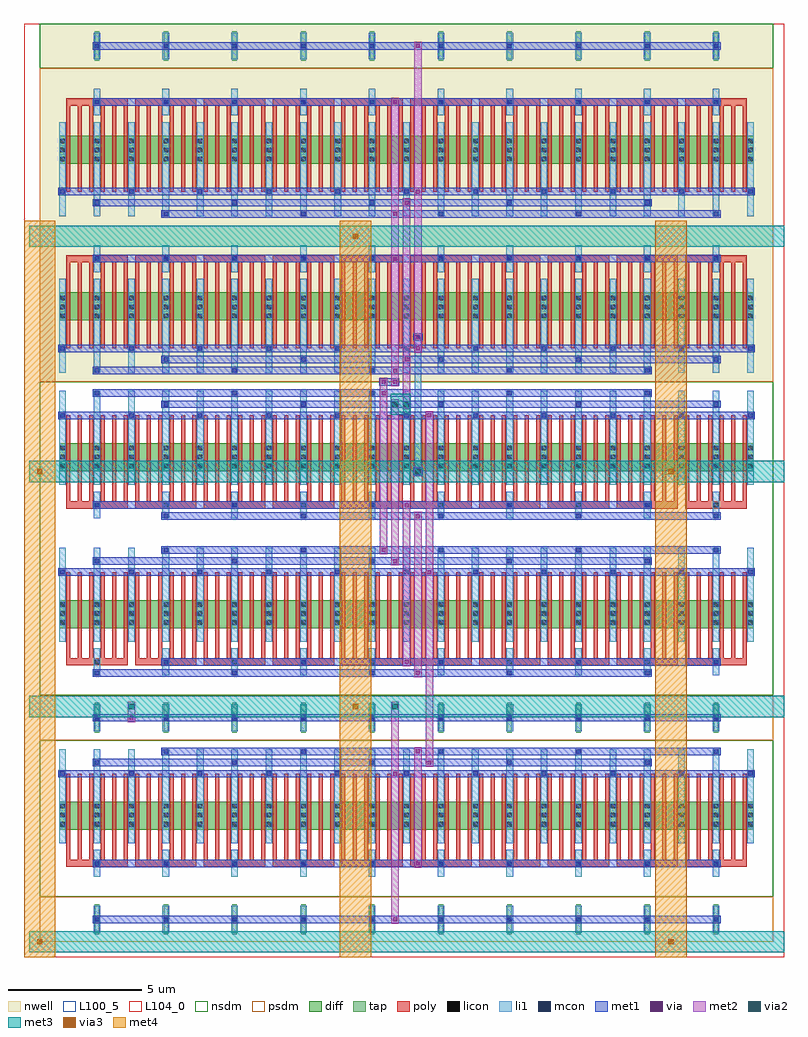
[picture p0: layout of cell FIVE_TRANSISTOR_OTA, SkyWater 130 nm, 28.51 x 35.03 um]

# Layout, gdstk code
import gdstk
lib = gdstk.Library(unit=1e-6, precision=1e-09)
def R(c, l, rs):  # rectangles x0, y0, x1, y1
    for r in rs: c.add(gdstk.rectangle(r[:2], r[2:], *l))
def A(c, l, x, y, w, h, nx, ny, dx, dy):  # array of equal rectangles
    R(c, l, [(x+i*dx, y+j*dy, x+i*dx+w, y+j*dy+h) for i in range(nx) for j in range(ny)])
nwell = (64, 20)
diff = (65, 20)
tap = (65, 44)
poly = (66, 20)
licon = (66, 44)
li1 = (67, 20)
mcon = (67, 44)
met1 = (68, 20)
via = (68, 44)
met2 = (69, 20)
via2 = (69, 44)
met3 = (70, 20)
via3 = (70, 44)
met4 = (71, 20)
nsdm = (93, 44)
psdm = (94, 20)
L100_5 = (100, 5)
L104_0 = (104, 0)

five_transistor_ota = lib.new_cell('FIVE_TRANSISTOR_OTA')
R(five_transistor_ota, nwell, [(0,21,27.52,34.44)])
R(five_transistor_ota, diff, [(0.735,4.2,26.785,5.25), (0.735,11.76,26.785,12.81), (0.735,17.64,26.785,18.69), (0.735,23.31,26.785,24.36), (0.735,29.19,26.785,30.24)])
A(five_transistor_ota, tap, 2.065, 0.28, 0.17, 1.12, 10, 2, 2.58, 7.56)
A(five_transistor_ota, tap, 2.065, 33.04, 0.17, 1.12, 10, 1, 2.58, 0)
A(five_transistor_ota, poly, 1, 2.805, 2.3, 0.27, 10, 2, 2.58, 7.56)
A(five_transistor_ota, poly, 1, 2.94, 0.15, 3.36, 60, 2, 0.43, 7.56)
A(five_transistor_ota, poly, 1, 16.245, 2.3, 0.27, 10, 2, 2.58, 9.24)
A(five_transistor_ota, poly, 1, 16.38, 0.15, 3.36, 60, 3, 0.43, 5.88)
A(five_transistor_ota, poly, 1, 31.365, 2.3, 0.27, 10, 1, 2.58, 0)
A(five_transistor_ota, licon, 2.065, 0.755, 0.17, 0.17, 10, 2, 2.58, 2.1)
A(five_transistor_ota, licon, 0.775, 4.32, 0.17, 0.17, 3, 3, 1.29, 0.34)
A(five_transistor_ota, licon, 3.355, 4.32, 0.17, 0.17, 3, 3, 1.29, 0.34)
A(five_transistor_ota, licon, 5.935, 4.32, 0.17, 0.17, 3, 3, 1.29, 0.34)
A(five_transistor_ota, licon, 8.515, 4.32, 0.17, 0.17, 3, 3, 1.29, 0.34)
A(five_transistor_ota, licon, 11.095, 4.32, 0.17, 0.17, 3, 3, 1.29, 0.34)
A(five_transistor_ota, licon, 13.675, 4.32, 0.17, 0.17, 3, 3, 1.29, 0.34)
A(five_transistor_ota, licon, 16.255, 4.32, 0.17, 0.17, 3, 3, 1.29, 0.34)
A(five_transistor_ota, licon, 18.835, 4.32, 0.17, 0.17, 3, 3, 1.29, 0.34)
A(five_transistor_ota, licon, 21.415, 4.32, 0.17, 0.17, 3, 3, 1.29, 0.34)
A(five_transistor_ota, licon, 23.995, 4.32, 0.17, 0.17, 3, 3, 1.29, 0.34)
A(five_transistor_ota, licon, 2.065, 10.415, 0.17, 0.17, 10, 2, 2.58, 5.88)
A(five_transistor_ota, licon, 0.775, 11.88, 0.17, 0.17, 3, 3, 1.29, 0.34)
A(five_transistor_ota, licon, 3.355, 11.88, 0.17, 0.17, 3, 3, 1.29, 0.34)
A(five_transistor_ota, licon, 5.935, 11.88, 0.17, 0.17, 3, 3, 1.29, 0.34)
A(five_transistor_ota, licon, 8.515, 11.88, 0.17, 0.17, 3, 3, 1.29, 0.34)
A(five_transistor_ota, licon, 11.095, 11.88, 0.17, 0.17, 3, 3, 1.29, 0.34)
A(five_transistor_ota, licon, 13.675, 11.88, 0.17, 0.17, 3, 3, 1.29, 0.34)
A(five_transistor_ota, licon, 16.255, 11.88, 0.17, 0.17, 3, 3, 1.29, 0.34)
A(five_transistor_ota, licon, 18.835, 11.88, 0.17, 0.17, 3, 3, 1.29, 0.34)
A(five_transistor_ota, licon, 21.415, 11.88, 0.17, 0.17, 3, 3, 1.29, 0.34)
A(five_transistor_ota, licon, 23.995, 11.88, 0.17, 0.17, 3, 3, 1.29, 0.34)
A(five_transistor_ota, licon, 0.775, 17.76, 0.17, 0.17, 3, 3, 1.29, 0.34)
A(five_transistor_ota, licon, 3.355, 17.76, 0.17, 0.17, 3, 3, 1.29, 0.34)
A(five_transistor_ota, licon, 5.935, 17.76, 0.17, 0.17, 3, 3, 1.29, 0.34)
A(five_transistor_ota, licon, 8.515, 17.76, 0.17, 0.17, 3, 3, 1.29, 0.34)
A(five_transistor_ota, licon, 11.095, 17.76, 0.17, 0.17, 3, 3, 1.29, 0.34)
A(five_transistor_ota, licon, 13.675, 17.76, 0.17, 0.17, 3, 3, 1.29, 0.34)
A(five_transistor_ota, licon, 16.255, 17.76, 0.17, 0.17, 3, 3, 1.29, 0.34)
A(five_transistor_ota, licon, 18.835, 17.76, 0.17, 0.17, 3, 3, 1.29, 0.34)
A(five_transistor_ota, licon, 21.415, 17.76, 0.17, 0.17, 3, 3, 1.29, 0.34)
A(five_transistor_ota, licon, 23.995, 17.76, 0.17, 0.17, 3, 3, 1.29, 0.34)
A(five_transistor_ota, licon, 0.775, 23.39, 0.17, 0.17, 3, 3, 1.29, 0.34)
A(five_transistor_ota, licon, 3.355, 23.39, 0.17, 0.17, 3, 3, 1.29, 0.34)
A(five_transistor_ota, licon, 5.935, 23.39, 0.17, 0.17, 3, 3, 1.29, 0.34)
A(five_transistor_ota, licon, 8.515, 23.39, 0.17, 0.17, 3, 3, 1.29, 0.34)
A(five_transistor_ota, licon, 11.095, 23.39, 0.17, 0.17, 3, 3, 1.29, 0.34)
A(five_transistor_ota, licon, 13.675, 23.39, 0.17, 0.17, 3, 3, 1.29, 0.34)
A(five_transistor_ota, licon, 16.255, 23.39, 0.17, 0.17, 3, 3, 1.29, 0.34)
A(five_transistor_ota, licon, 18.835, 23.39, 0.17, 0.17, 3, 3, 1.29, 0.34)
A(five_transistor_ota, licon, 21.415, 23.39, 0.17, 0.17, 3, 3, 1.29, 0.34)
A(five_transistor_ota, licon, 23.995, 23.39, 0.17, 0.17, 3, 3, 1.29, 0.34)
A(five_transistor_ota, licon, 2.065, 25.535, 0.17, 0.17, 10, 2, 2.58, 5.88)
A(five_transistor_ota, licon, 0.775, 29.27, 0.17, 0.17, 3, 3, 1.29, 0.34)
A(five_transistor_ota, licon, 3.355, 29.27, 0.17, 0.17, 3, 3, 1.29, 0.34)
A(five_transistor_ota, licon, 5.935, 29.27, 0.17, 0.17, 3, 3, 1.29, 0.34)
A(five_transistor_ota, licon, 8.515, 29.27, 0.17, 0.17, 3, 3, 1.29, 0.34)
A(five_transistor_ota, licon, 11.095, 29.27, 0.17, 0.17, 3, 3, 1.29, 0.34)
A(five_transistor_ota, licon, 13.675, 29.27, 0.17, 0.17, 3, 3, 1.29, 0.34)
A(five_transistor_ota, licon, 16.255, 29.27, 0.17, 0.17, 3, 3, 1.29, 0.34)
A(five_transistor_ota, licon, 18.835, 29.27, 0.17, 0.17, 3, 3, 1.29, 0.34)
A(five_transistor_ota, licon, 21.415, 29.27, 0.17, 0.17, 3, 3, 1.29, 0.34)
A(five_transistor_ota, licon, 23.995, 29.27, 0.17, 0.17, 3, 3, 1.29, 0.34)
R(five_transistor_ota, licon, [(2.065,8.315,2.235,8.485), (2.065,8.315,2.235,8.485), (4.645,8.315,4.815,8.485), (4.645,8.315,4.815,8.485), (7.225,8.315,7.395,8.485), (7.225,8.315,7.395,8.485), (9.805,8.315,9.975,8.485), (9.805,8.315,9.975,8.485), (12.385,8.315,12.555,8.485), (12.385,8.315,12.555,8.485), (14.965,8.315,15.135,8.485), (14.965,8.315,15.135,8.485), (17.545,8.315,17.715,8.485), (17.545,8.315,17.715,8.485), (20.125,8.315,20.295,8.485), (20.125,8.315,20.295,8.485), (22.705,8.315,22.875,8.485), (22.705,8.315,22.875,8.485), (25.285,8.315,25.455,8.485), (25.285,8.315,25.455,8.485), (2.065,33.515,2.235,33.685), (2.065,33.515,2.235,33.685), (4.645,33.515,4.815,33.685), (4.645,33.515,4.815,33.685), (7.225,33.515,7.395,33.685), (7.225,33.515,7.395,33.685), (9.805,33.515,9.975,33.685), (9.805,33.515,9.975,33.685), (12.385,33.515,12.555,33.685), (12.385,33.515,12.555,33.685), (14.965,33.515,15.135,33.685), (14.965,33.515,15.135,33.685), (17.545,33.515,17.715,33.685), (17.545,33.515,17.715,33.685), (20.125,33.515,20.295,33.685), (20.125,33.515,20.295,33.685), (22.705,33.515,22.875,33.685), (22.705,33.515,22.875,33.685), (25.285,33.515,25.455,33.685), (25.285,33.515,25.455,33.685)])
A(five_transistor_ota, li1, 2.025, 0.335, 0.25, 1.01, 10, 2, 2.58, 2.1)
A(five_transistor_ota, li1, 0.735, 3.695, 0.25, 3.53, 21, 2, 1.29, 7.56)
A(five_transistor_ota, li1, 2.025, 7.895, 0.25, 1.01, 10, 2, 2.58, 2.1)
A(five_transistor_ota, li1, 2.025, 15.875, 0.25, 1.01, 10, 2, 2.58, 9.24)
A(five_transistor_ota, li1, 0.735, 17.135, 0.25, 3.53, 21, 2, 1.29, 4.2)
A(five_transistor_ota, li1, 0.735, 27.215, 0.25, 3.53, 21, 1, 1.29, 0)
A(five_transistor_ota, li1, 2.025, 30.995, 0.25, 1.01, 10, 2, 2.58, 2.1)
R(five_transistor_ota, li1, [(14.065,17.555,14.315,22.765)])
A(five_transistor_ota, mcon, 2.065, 0.755, 0.17, 0.17, 10, 2, 2.58, 2.1)
A(five_transistor_ota, mcon, 0.775, 6.215, 0.17, 0.17, 11, 2, 2.58, 7.56)
A(five_transistor_ota, mcon, 2.065, 6.635, 0.17, 0.17, 5, 2, 5.16, 3.36)
A(five_transistor_ota, mcon, 4.645, 7.055, 0.17, 0.17, 5, 2, 5.16, 3.36)
A(five_transistor_ota, mcon, 2.065, 8.315, 0.17, 0.17, 10, 2, 2.58, 17.22)
A(five_transistor_ota, mcon, 2.065, 14.195, 0.17, 0.17, 5, 2, 5.16, 2.1)
A(five_transistor_ota, mcon, 4.645, 14.615, 0.17, 0.17, 5, 2, 5.16, 1.26)
A(five_transistor_ota, mcon, 0.775, 19.655, 0.17, 0.17, 11, 2, 2.58, 2.52)
A(five_transistor_ota, mcon, 4.645, 20.075, 0.17, 0.17, 5, 2, 5.16, 1.68)
A(five_transistor_ota, mcon, 2.065, 20.495, 0.17, 0.17, 5, 2, 5.16, 0.84)
A(five_transistor_ota, mcon, 4.645, 27.215, 0.17, 0.17, 5, 1, 5.16, 0)
A(five_transistor_ota, mcon, 2.065, 27.635, 0.17, 0.17, 5, 1, 5.16, 0)
A(five_transistor_ota, mcon, 0.775, 28.055, 0.17, 0.17, 11, 1, 2.58, 0)
A(five_transistor_ota, mcon, 2.065, 31.415, 0.17, 0.17, 10, 2, 2.58, 2.1)
R(five_transistor_ota, mcon, [(14.105,17.555,14.275,17.725), (14.105,22.595,14.275,22.765)])
R(five_transistor_ota, met1, [(1.98,0.7,25.54,0.98), (1.98,2.8,25.54,3.08), (0.69,6.16,26.83,6.44), (1.98,6.58,22.96,6.86), (4.56,7,25.54,7.28), (1.98,8.26,25.54,8.54), (1.98,9.94,22.96,10.22), (4.56,10.36,25.54,10.64), (0.69,13.72,26.83,14), (1.98,14.14,22.96,14.42), (4.56,14.56,25.54,14.84), (4.56,15.82,25.54,16.1), (1.98,16.24,22.96,16.52), (14.02,17.5,14.36,17.78), (0.69,19.6,26.83,19.88), (4.56,20.02,25.54,20.3), (1.98,20.44,22.96,20.72), (12.74,20.86,13.49,21.14), (1.98,21.28,22.96,21.56), (4.56,21.7,25.54,21.98), (0.69,22.12,26.83,22.4), (14.02,22.54,14.36,22.82), (1.98,25.48,25.54,25.76), (4.56,27.16,25.54,27.44), (1.98,27.58,22.96,27.86), (0.69,28,26.83,28.28), (1.98,31.36,25.54,31.64), (1.98,33.46,25.54,33.74)])
A(five_transistor_ota, via, 14.115, 22.605, 0.15, 0.15, 1, 3, 0, 5.46)
R(five_transistor_ota, via, [(13.255,0.765,13.405,0.915), (14.115,2.865,14.265,3.015), (13.255,6.225,13.405,6.375), (14.545,6.645,14.695,6.795), (14.115,7.065,14.265,7.215), (3.365,8.325,3.515,8.475), (14.115,10.005,14.265,10.155), (13.685,10.425,13.835,10.575), (14.545,13.785,14.695,13.935), (13.255,14.205,13.405,14.355), (12.825,14.625,12.975,14.775), (14.115,15.885,14.265,16.035), (13.685,16.305,13.835,16.455), (14.115,17.565,14.265,17.715), (14.545,19.665,14.695,19.815), (13.255,20.085,13.405,20.235), (12.825,20.505,12.975,20.655), (12.825,20.925,12.975,21.075), (13.255,20.925,13.405,21.075), (13.255,21.345,13.405,21.495), (13.685,21.765,13.835,21.915), (14.115,22.185,14.265,22.335), (13.255,25.545,13.405,25.695), (13.255,27.225,13.405,27.375), (13.685,27.645,13.835,27.795), (13.255,31.425,13.405,31.575)])
R(five_transistor_ota, met2, [(13.19,0.68,13.47,9.005), (14.05,2.78,14.33,7.3), (14.48,6.56,14.76,19.9), (3.3,8.24,3.58,9.005), (14.05,9.92,14.33,16.12), (13.62,10.34,13.9,16.54), (13.19,14.12,13.47,20.345), (12.76,14.54,13.04,21.16), (14.05,17.455,14.33,17.825), (13.62,19.975,13.9,27.88), (13.19,20.84,13.47,31.66), (14.05,22.1,14.33,33.76)])
R(five_transistor_ota, via2, [(3.34,8.72,3.54,8.92), (13.23,8.72,13.43,8.92), (14.09,17.54,14.29,17.74), (13.23,20.06,13.43,20.26), (13.66,20.06,13.86,20.26)])
A(five_transistor_ota, met3, -0.4, -0.4, 28.32, 0.8, 1, 4, 0, 8.82)
R(five_transistor_ota, met3, [(13.165,19.76,13.925,20.56)])
R(five_transistor_ota, via3, [(-0.1,-0.1,0.1,0.1), (23.58,-0.1,23.78,0.1), (11.74,8.72,11.94,8.92), (-0.1,17.54,0.1,17.74), (23.58,17.54,23.78,17.74), (11.74,26.36,11.94,26.56)])
A(five_transistor_ota, met4, -0.59, -0.59, 1.18, 27.64, 3, 1, 11.84, 0)
R(five_transistor_ota, nsdm, [(0,1.68,27.52,7.56), (0,9.24,27.52,21), (0,32.76,27.52,34.44)])
R(five_transistor_ota, psdm, [(0,0,27.52,1.68), (0,7.56,27.52,9.24), (0,21,27.52,32.76)])
R(five_transistor_ota, L100_5, [(-0.59,-0.59,27.92,34.44)])
R(five_transistor_ota, L104_0, [(-0.59,-0.59,27.92,34.44)])

lib.write_gds('FIVE_TRANSISTOR_OTA.gds')
